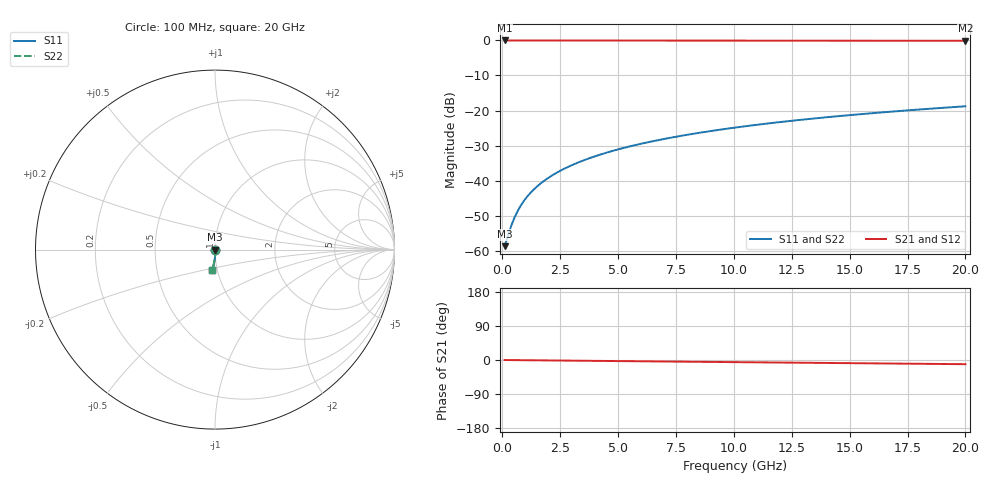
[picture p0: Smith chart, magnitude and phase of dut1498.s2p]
! Touchstone file exported from HFSS 2026.1.0
!  File:  C:/ffzhzh/LocalFiles/Ansys_Project_Files/temp_train_TSV_1498_1783198931_22436.aedt
!  Generated:  05:03:45 AM Jul  5, 2026
!  Design:  TSV
!  Project:  temp_train_TSV_1498_1783198931_22436
! Variables:
!  h_bsmrdl = 2um
!  h_ox = 20um
!  h_rdl = 5um
!  h_sub = 95.24um
!  h_tmrdl = 5um
!  h_tsv = 95.24um
!  h_via = 3um
!  l_bsmrdl = 300um
!  l_sub = 406.5um
!  l_tmrdl = 200um
!  m_sub = 200um
!  pitch = 7.84um
!  r_tsv = 3.25um
!  s_tmrdl = 10um
!  w_bsmrdl = 18um
!  w_sub = 500um
!  w_tmrdl = 12um
!  x_tsv_center1 = 206um
!  x_tsv_center2 = 524um
!  x_tsv_center3 = 736um
!  x_tsv_center4 = 1054um
!  x_tsv_center5 = 1266um
!  x_tsv_center6 = 1584um
# GHz S MA R 50.000000
! Terminal data exported
! Port[1] = TSV1_1_T1
! Port[2] = TSV1_1_T2
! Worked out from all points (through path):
!   200 points, 100 MHz to 20 GHz, reference 50 ohm
!   highest |S21| = -0.01 dB at 100 MHz (marker M1); lowest = -0.1 dB at 20 GHz (marker M2)
!   group delay of S21, straight-line fit = 1.53 ps
!   lowest |S11| = -58.7 dB at 100 MHz (marker M3), VSWR 1.00, Z = 50.1 - j0.0472 ohm
!   |S11| at or under -10 dB: start of sweep to end of sweep
!   |S22| runs from -58.7 to -18.8 dB; largest |S21 - S12| = 5e-15
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0.1  0.001162 -23.9  0.9989 -0.1  0.9989 -0.1  0.001162 -23.9
! Gamma 0 0 0 0
! Port Impedance 50 0 50 0
0.4  0.002328 -58.9  0.9988 -0.2  0.9988 -0.2  0.002328 -58.9
0.5  0.002826 -63.8  0.9987 -0.3  0.9987 -0.3  0.002826 -63.8
0.6  0.003345 -67.4  0.9987 -0.4  0.9987 -0.4  0.003345 -67.4
0.7  0.003875 -70.1  0.9986 -0.4  0.9986 -0.4  0.003875 -70.1
0.9  0.004956 -74.1  0.9986 -0.5  0.9986 -0.5  0.004956 -74.1
1.2  0.006599 -77.8  0.9985 -0.7  0.9985 -0.7  0.006599 -77.8
1.4  0.007701 -79.5  0.9985 -0.8  0.9985 -0.8  0.007701 -79.5
1.6  0.008805 -80.8  0.9984 -0.9  0.9984 -0.9  0.008805 -80.8
2.1  0.01158 -83.1  0.9983 -1.2  0.9983 -1.2  0.01158 -83.1
2.7  0.01492 -84.7  0.9981 -1.5  0.9981 -1.5  0.01492 -84.7
3.5  0.0194 -86.2  0.9979 -2.0  0.9979 -2.0  0.0194 -86.2
4.2  0.02335 -87.1  0.9976 -2.4  0.9976 -2.4  0.02335 -87.1
5  0.02789 -88.0  0.9973 -2.8  0.9973 -2.8  0.02789 -88.0
5.9  0.03304 -88.8  0.9968 -3.3  0.9968 -3.3  0.03304 -88.8
6.8  0.03823 -89.6  0.9964 -3.8  0.9964 -3.8  0.03823 -89.6
8.3  0.04692 -90.7  0.9956 -4.7  0.9956 -4.7  0.04692 -90.7
10.1  0.0574 -92.0  0.9946 -5.7  0.9946 -5.7  0.0574 -92.0
11.7  0.06674 -93.0  0.9937 -6.5  0.9937 -6.5  0.06674 -93.0
13.4  0.07666 -94.2  0.9926 -7.5  0.9926 -7.5  0.07666 -94.2
16.7  0.09586 -96.3  0.9903 -9.3  0.9903 -9.3  0.09586 -96.3
20  0.1149 -98.3  0.9877 -11.1  0.9877 -11.1  0.1149 -98.3
